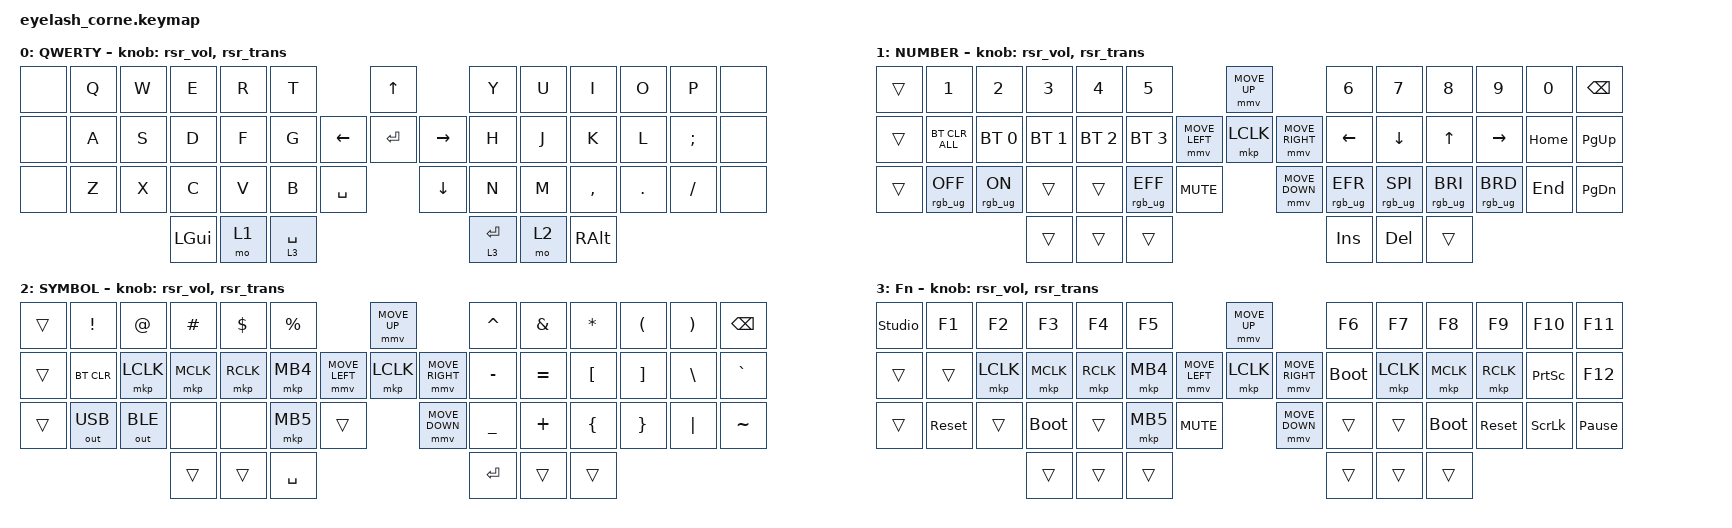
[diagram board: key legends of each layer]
#define ZMK_POINTING_DEFAULT_MOVE_VAL 1200  // 600
#define ZMK_POINTING_DEFAULT_SCRL_VAL 25   // 10

#include <input/processors.dtsi>
#include <zephyr/dt-bindings/input/input-event-codes.h>
#include <behaviors/runtime-sensor-rotate.dtsi>
#include <behaviors.dtsi>
#include <dt-bindings/zmk/bt.h>
#include <dt-bindings/zmk/keys.h>
#include <dt-bindings/zmk/outputs.h>
#include <dt-bindings/zmk/pointing.h>
#include <dt-bindings/zmk/rgb.h>

&soft_off { hold-time-ms = <2000>; };

/ {
    behaviors {
        td0: td0 {
            compatible = "zmk,behavior-tap-dance";
            display-name = "Shift/Caps Lock Tap Dance";
            #binding-cells = <0>;
            bindings = <&kp LEFT_SHIFT>, <&kp CAPS>;
        };

        rsr_vol: rsr_vol {
            compatible = "zmk,behavior-runtime-sensor-rotate";
            #sensor-binding-cells = <0>;
            tap-ms = <5>;
            cw-binding = <&kp C_VOL_UP>;
            ccw-binding = <&kp C_VOL_DN>;
        };

        rsr_trans: rsr_trans {
            compatible = "zmk,behavior-runtime-sensor-rotate";
            #sensor-binding-cells = <0>;
            tap-ms = <0>;
        };
    };

    combos {
        compatible = "zmk,combos";

        esc {
            bindings = <&kp ESCAPE>;
            key-positions = <1 2>;
        };

        backspace {
            bindings = <&kp BACKSPACE>;
            key-positions = <10 11>;
        };

        rt {
            bindings = <&kp NUMBER_1>;
            key-positions = <4 5>;
        };

        df {
            bindings = <&kp NUMBER_2>;
            key-positions = <16 17>;
        };

        fg {
            bindings = <&kp NUMBER_3>;
            key-positions = <17 18>;
        };

        cv {
            bindings = <&kp NUMBER_4>;
            key-positions = <31 32>;
        };

        vb {
            bindings = <&kp N5>;
            key-positions = <32 33>;
        };

        hj {
            bindings = <&kp NUMBER_6>;
            key-positions = <22 23>;
        };

        jk {
            bindings = <&kp N7>;
            key-positions = <23 24>;
        };

        kl {
            bindings = <&kp N8>;
            key-positions = <24 25>;
        };

        nm {
            bindings = <&kp N9>;
            key-positions = <36 37>;
        };

        m, {
            bindings = <&kp N0>;
            key-positions = <37 38>;
        };

        down {
            bindings = <&kp DOWN_ARROW>;
            key-positions = <47 40>;
        };
    };

    keymap {
        compatible = "zmk,keymap";

        default_layer {
            display-name = "QWERTY";
            bindings = <
&none  &kp Q  &kp W  &kp E     &kp R  &kp T                               &kp UP                &kp Y        &kp U  &kp I      &kp O    &kp P     &none
&none  &kp A  &kp S  &kp D     &kp F  &kp G                     &kp LEFT  &kp ENTER  &kp RIGHT  &kp H        &kp J  &kp K      &kp L    &kp SEMI  &none
&none  &kp Z  &kp X  &kp C     &kp V  &kp B        &kp SPACE              &kp DOWN              &kp N        &kp M  &kp COMMA  &kp DOT  &kp FSLH  &none
                     &kp LGUI  &mo 1  &lt 3 SPACE                                               &lt 3 ENTER  &mo 2  &kp RALT
            >;

            sensor-bindings = <&rsr_vol &rsr_trans>;
        };

        lower_layer {
            display-name = "NUMBER";
            bindings = <
&trans  &kp N1           &kp N2          &kp N3        &kp N4        &kp N5                                         &mmv MOVE_UP                     &kp N6           &kp N7           &kp N8           &kp N9           &kp N0    &kp BSPC
&trans  &bt BT_CLR_ALL   &bt BT_SEL 0    &bt BT_SEL 1  &bt BT_SEL 2  &bt BT_SEL 3                   &mmv MOVE_LEFT  &mkp LCLK       &mmv MOVE_RIGHT  &kp LEFT         &kp DOWN         &kp UP           &kp RIGHT        &kp HOME  &kp PG_UP
&trans  &rgb_ug RGB_OFF  &rgb_ug RGB_ON  &trans        &trans        &rgb_ug RGB_EFF  &kp C_MUTE                    &mmv MOVE_DOWN                   &rgb_ug RGB_EFR  &rgb_ug RGB_SPI  &rgb_ug RGB_BRI  &rgb_ug RGB_BRD  &kp END   &kp PG_DN
                                         &trans        &trans        &trans                                                                          &kp INS          &kp DEL          &trans
            >;

            sensor-bindings = <&rsr_vol &rsr_trans>;
        };

        raise_layer {
            display-name = "SYMBOL";
            bindings = <
&trans  &kp EXCL      &kp AT        &kp HASH   &kp DLLR   &kp PRCNT                            &mmv MOVE_UP                     &kp CARET  &kp AMPS   &kp ASTRK  &kp LPAR  &kp RPAR  &kp BSPC
&trans  &bt BT_CLR    &mkp LCLK     &mkp MCLK  &mkp RCLK  &mkp MB4             &mmv MOVE_LEFT  &mkp LCLK       &mmv MOVE_RIGHT  &kp MINUS  &kp EQUAL  &kp LBKT   &kp RBKT  &kp BSLH  &kp GRAVE
&trans  &out OUT_USB  &out OUT_BLE  &none      &none      &mkp MB5   &trans                    &mmv MOVE_DOWN                   &kp UNDER  &kp PLUS   &kp LBRC   &kp RBRC  &kp PIPE  &kp TILDE
                                    &trans     &trans     &kp SPACE                                                             &kp RET    &trans     &trans
            >;

            sensor-bindings = <&rsr_vol &rsr_trans>;
        };

        layer_3 {
            display-name = "Fn";
            bindings = <
&studio_unlock  &kp F1      &kp F2     &kp F3       &kp F4     &kp F5                                  &mmv MOVE_UP                     &kp F6       &kp F7     &kp F8       &kp F9      &kp F10          &kp F11
&trans          &trans      &mkp LCLK  &mkp MCLK    &mkp RCLK  &mkp MB4                &mmv MOVE_LEFT  &mkp LCLK       &mmv MOVE_RIGHT  &bootloader  &mkp LCLK  &mkp MCLK    &mkp RCLK   &kp PRINTSCREEN  &kp F12
&trans          &sys_reset  &trans     &bootloader  &trans     &mkp MB5  &kp C_MUTE                    &mmv MOVE_DOWN                   &trans       &trans     &bootloader  &sys_reset  &kp SCROLLLOCK   &kp PAUSE_BREAK
                                       &trans       &trans     &trans                                                                   &trans       &trans     &trans
            >;

            sensor-bindings = <&rsr_vol &rsr_trans>;
        };
    };
};
